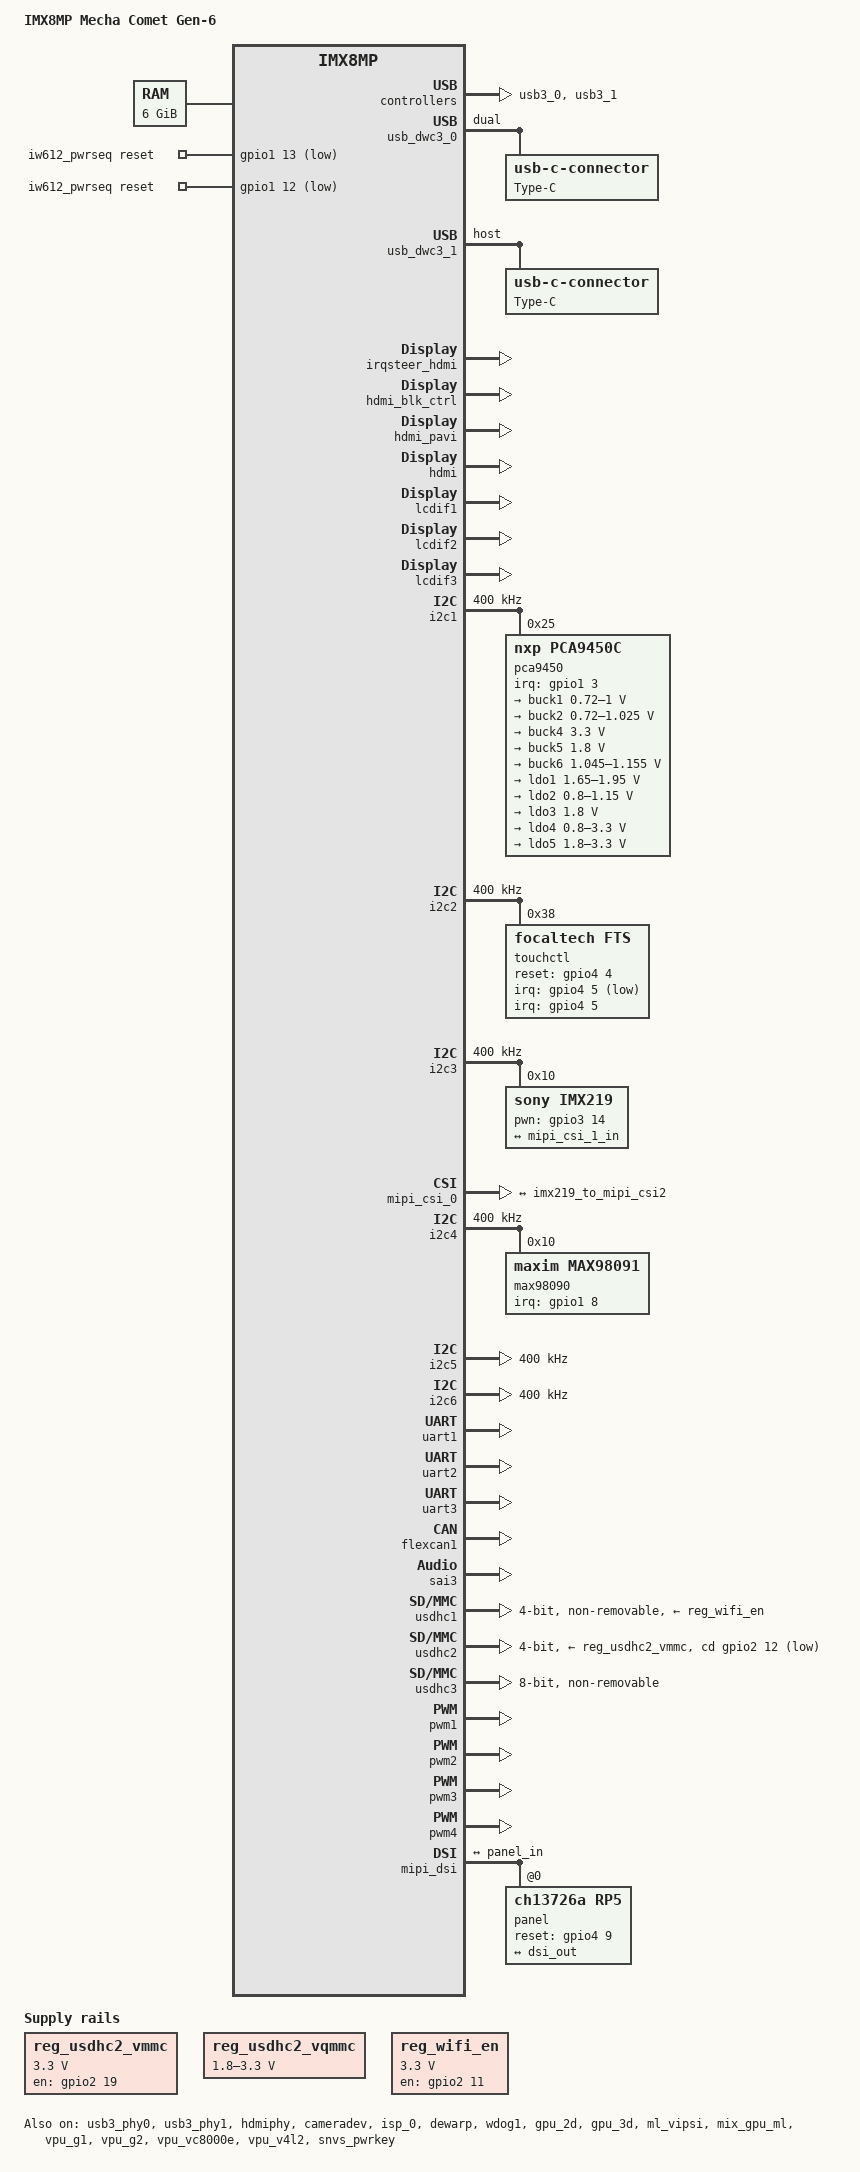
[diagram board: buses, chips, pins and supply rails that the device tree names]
// SPDX-License-Identifier: GPL-2.0-or-later OR MIT
/*
 * Copyright 2025 Silicon Signals Pvt Ltd
 */

/dts-v1/;

#include <dt-bindings/phy/phy-imx8-pcie.h>
#include <dt-bindings/pwm/pwm.h>
#include "imx8mp.dtsi"

/ {
	model = "IMX8MP Mecha Comet Gen-6";
	compatible = "mecha,imx8mp-mecha-comet-m-gen6","fsl,imx8mp";

	chosen {
		stdout-path = &uart2;
	};

	/* Reference from imx8mp-evk dts file needs to be tested */
	memory@40000000 {
		device_type = "memory";
		reg = <0x0 0x40000000 0 0xc0000000>,
		      <0x1 0x00000000 0 0xc0000000>;
	};

	iw612_pwrseq: iw612_pwrseq {
		compatible = "mmc-pwrseq-simple";
		post-power-on-delay-ms = <100>;
		power-off-delay-us = <10000>;
		reset-gpios = <&gpio1 13 GPIO_ACTIVE_LOW>,       /* WIFI_RESET */
			      <&gpio1 12 GPIO_ACTIVE_LOW>;      /* WIFI_PWR_EN */
		status = "okay";
	};

	reg_usdhc2_vmmc: regulator-usdhc2 {
		compatible = "regulator-fixed";
		pinctrl-names = "default";
		pinctrl-0 = <&pinctrl_reg_usdhc2_vmmc>;
		regulator-name = "VSD_3V3";
		regulator-min-microvolt = <3300000>;
		regulator-max-microvolt = <3300000>;
		gpio = <&gpio2 19 GPIO_ACTIVE_HIGH>;
		enable-active-high;
	};

	reg_usdhc2_vqmmc: regulator-usdhc2-vqmmc {
		compatible = "regulator-gpio";
		regulator-name = "VSD_VSEL";
		regulator-min-microvolt = <1800000>;
		regulator-max-microvolt = <3300000>;
		gpio = <&gpio1 4 GPIO_ACTIVE_HIGH>;
		gpios-states = <1>;
		states = <3300000 0
			 1800000 1>;
	};

	sound-max98090 {
	        compatible = "simple-audio-card";
	        simple-audio-card,name = "max98090-audio";
	        simple-audio-card,format = "i2s";
	        simple-audio-card,frame-master = <&cpudai>;
	        simple-audio-card,bitclock-master = <&cpudai>;
	        simple-audio-card,bitclock-inversion;

	        simple-audio-card,widgets =
	                "Microphone", "Mic Jack",
	                "Speakers", "Speakers",
	                "Line", "Line In",
	                "Line", "Line Out",
	                "Headphone", "Headphone Jack";

	        simple-audio-card,routing =
	                "Headphone Jack", "HPL",
	                "Headphone Jack", "HPR",
	                "Line Out", "RCVL",
	                "Line Out", "RCVR",
	        /* Uncomment any of these below lines if the Line Input(s) is(are) used else leave it as such. */
	                "IN1","Line In",
	                "IN2","Line In",
	                "IN5", "Line In",  /* IN1/IN2/IN3/IN4/IN6 (For single-ended input) */
	                "IN34", "Line In", /* IN34 (For differential inputs) */
	                "IN56", "Line In", /* IN34 (For differential inputs) */
	                "MIC1", "Mic Jack",
	                "MIC2", "Mic Jack",
	                "Mic Jack", "MICBIAS",
	                "IN1", "MICBIAS",
	                "MIC1","IN1",
	                "MIC2","IN1",
	                "Speakers", "SPKL",
	                "Speakers", "SPKR",

	                /* DMIC-3 Routings */
	                "DMICL", "DMIC Mux",
	                "DMIC Mux", "DMIC3",
	                "DMIC3", "DMIC3_ENA",
	                "DMIC3", "AHPF",

	                /* DMIC-4 Routings */
	                "DMICR", "DMIC Mux",
	                "DMIC Mux", "DMIC4",
	                "DMIC4", "DMIC4_ENA",
	                "DMIC3", "AHPF",
	                "DMIC4", "AHPF",

	                "HiFi Capture", "DMICL",
	                "HiFi Capture", "DMICR";

	        cpudai: simple-audio-card,cpu {
	                sound-dai = <&sai3>;
	                dai-tdm-slot-num = <2>;
	                dai-tdm-slot-width = <32>;
	        };

	        simple-audio-card,codec {
	                sound-dai = <&max98090>;
	                clocks = <&audio_blk_ctrl IMX8MP_CLK_AUDIOMIX_SAI3_MCLK1>;
	        };
	};

	reg_wifi_en: regulator-wifi-en {
		 compatible = "regulator-fixed";
		 enable-active-high;
		 gpio = <&gpio2 11 GPIO_ACTIVE_HIGH>;
		 pinctrl-names = "default";
		 pinctrl-0 = <&pinctrl_wifi_pwr_en>;
		 regulator-max-microvolt = <3300000>;
		 regulator-min-microvolt = <3300000>;
		 regulator-name = "PDn_AW-CM276NF";
		 startup-delay-us = <2000>;
	};
};

&usb3_0 {
        status = "okay";
};

&usb3_phy0 {
        status = "okay";
};

&usb_dwc3_0 {
        status = "okay";
	dr_mode = "dual";

	connector {
		compatible = "usb-c-connector";
		label = "Type-C";
		type = "mini";
		power-role = "dual";
		data-role = "dual";
	};
};

&usb3_phy1 {
        status = "okay";
};

&usb3_1 {
        status = "okay";
};

&usb_dwc3_1 {
        status = "okay";
	dr_mode = "host";
	maximum-speed = "high-speed";
	connector {
		compatible = "usb-c-connector";
		label = "Type-C";
		type = "mini";
		power-role = "host";
		data-role = "host";
	};
};

&irqsteer_hdmi {
        status = "okay";
};

&hdmi_blk_ctrl {
        status = "okay";
};

&hdmi_pavi {
        status = "okay";
};

&hdmi {
        status = "okay";
};

&hdmiphy {
        status = "okay";
};

&lcdif1 {
        status = "okay";
};

&lcdif2 {
        status = "okay";
};

&lcdif3 {
        status = "okay";

        thres-low  = <1 2>;             /* (FIFO * 1 / 2) */
        thres-high = <3 4>;             /* (FIFO * 3 / 4) */
};

&A53_0 {
        cpu-supply = <&buck2>;
};

&A53_1 {
        cpu-supply = <&buck2>;
};

&A53_2 {
        cpu-supply = <&buck2>;
};

&A53_3 {
        cpu-supply = <&buck2>;
};

&i2c1 {
	clock-frequency = <400000>;
	pinctrl-names = "default";
	pinctrl-0 = <&pinctrl_i2c1>;
	status = "okay";

	pca9450: pmic@25 {
		compatible = "nxp,pca9450c";
		reg = <0x25>;
		pinctrl-names = "default";
		pinctrl-0 = <&pinctrl_pmic>;
		interrupt-parent = <&gpio1>;
		interrupts = <3 IRQ_TYPE_LEVEL_LOW>;

		regulators {
			buck1: BUCK1 {
				regulator-name = "VDD_SOC";
				regulator-min-microvolt = <720000>;
				regulator-max-microvolt = <1000000>;
				regulator-boot-on;
				regulator-always-on;
				regulator-ramp-delay = <3125>;
			};

			buck2: BUCK2 {
				regulator-name = "VDD_ARM";
				regulator-min-microvolt = <720000>;
				regulator-max-microvolt = <1025000>;
				regulator-boot-on;
				regulator-always-on;
				regulator-ramp-delay = <3125>;
				nxp,dvs-run-voltage = <950000>;
				nxp,dvs-standby-voltage = <850000>;
			};

			buck4: BUCK4 {
				regulator-name = "BUCK4";
				regulator-min-microvolt = <3300000>;
				regulator-max-microvolt = <3300000>;
				regulator-boot-on;
				regulator-always-on;
			};
			
			buck5: BUCK5 {
				regulator-name = "BUCK5";
				regulator-min-microvolt = <1800000>;
				regulator-max-microvolt = <1800000>;
				regulator-boot-on;
				regulator-always-on;
			};

			buck6: BUCK6 {
				regulator-name = "NVCC_DRAM_1V1";
				regulator-min-microvolt = <1045000>;
				regulator-max-microvolt = <1155000>;
				regulator-boot-on;
				regulator-always-on;
			};

			ldo1: LDO1 {
				regulator-name = "NVCC_SNVS_1V8";
				regulator-min-microvolt = <1650000>;
				regulator-max-microvolt = <1950000>;
				regulator-boot-on;
				regulator-always-on;
			};

			ldo2: LDO2 {
				regulator-name = "LDO2";
				regulator-min-microvolt = <800000>;
				regulator-max-microvolt = <1150000>;
				regulator-boot-on;
				regulator-always-on;
			};

			ldo3: LDO3 {
				regulator-name = "VDDA_1V8";
				regulator-min-microvolt = <1800000>;
				regulator-max-microvolt = <1800000>;
				regulator-boot-on;
				regulator-always-on;
			};

			ldo4: LDO4 {
				regulator-name = "LDO4";
				regulator-min-microvolt = <800000>;
				regulator-max-microvolt = <3300000>;
				regulator-boot-on;
				regulator-always-on;
			};

			ldo5: LDO5 {
				regulator-name = "NVCC_SD2";
				regulator-min-microvolt = <1800000>;
				regulator-max-microvolt = <3300000>;
				regulator-boot-on;
				regulator-always-on;
			};
		};
	};
};

&i2c2 {
	clock-frequency = <400000>;
	pinctrl-names = "default";
	pinctrl-0 = <&pinctrl_i2c2>;
	status = "okay";

	touchctl: focaltech@38 {
		compatible = "focaltech,fts";
		reg = <0x38>;
		pinctrl-names = "default";
		pinctrl-0 = <&pinctrl_touch_i2c>;
		interrupt-parent = <&gpio4>;
		interrupts = <5 IRQ_TYPE_EDGE_FALLING>;
		focaltech,reset-gpio = <&gpio4 4 GPIO_ACTIVE_HIGH>;
		focaltech,irq-gpio = <&gpio4 5 GPIO_ACTIVE_LOW>;
		focaltech,max-touch-number = <5>;
		focaltech,display-coords = <0 0 1079 1239>;
		status = "okay";
	};

};

&i2c3 {
	clock-frequency = <400000>;
	pinctrl-names = "default";
	pinctrl-0 = <&pinctrl_i2c3>;
	status = "okay";

	imx219: imx219@10 {
	        compatible = "sony,imx219";
	        reg = <0x10>;
	        pinctrl-names = "default";
	        pinctrl-0 = <&pinctrl_gpio_mclk>,<&pinctrl_gpio5>;
	        clock-names = "xclk";
	        clocks = <&clk IMX8MP_CLK_IPP_DO_CLKO1>;
	        assigned-clocks = <&clk IMX8MP_CLK_IPP_DO_CLKO1>;
	        assigned-clock-parents = <&clk IMX8MP_CLK_24M>;
	        assigned-clock-rates = <24000000>;
	        mclk = <24000000>;
	        mclk_source = <0>;
	        csi_id=<0>;

	        pwn-gpios = <&gpio3 14 GPIO_ACTIVE_HIGH>; //pwn=14

	        port {
	            imx219_to_mipi_csi2: endpoint {
	                remote-endpoint = <&mipi_csi_1_in>;
	                clock-lanes = <0>;
	                data-lanes = <1 2>;
	                clock-noncontinuous;
	                link-frequencies = /bits/ 64 <456000000>;
	            };
	       };
	};
};

&cameradev {
       status = "okay";
};

&mipi_csi_0 {
	status = "okay";
	#address-cells = <1>;
	#size-cells = <0>;
	
	port@0 {
		reg = <0>;
		mipi_csi_1_in: endpoint {
			remote-endpoint = <&imx219_to_mipi_csi2>;
			data-lanes = <2>;
			csis-hs-settle = <13>;
			csis-clk-settle = <2>;
			csis-wclk;
		};
	};
};

&isp_0 {
       status = "okay";
};

&isi_0 {
       	status = "disabled";
};

&isi_1 {
       status = "disabled";
};

&dewarp {
       status = "okay";
};

&sdma2 {
       status = "okay";
};

&i2c4 {
	clock-frequency = <400000>;
	pinctrl-names = "default";
	pinctrl-0 = <&pinctrl_i2c4>;
	status = "okay";

	max98090: max98090@10 {
	        #sound-dai-cells = <0>;
	        pinctrl-names = "default";
	        pinctrl-0 = <&pinctrl_sai3>;
	        compatible = "maxim,max98091";
	        reg = <0x10>;
	        clocks = <&clk IMX8MP_CLK_SAI3_ROOT>;
	        interrupt-parent = <&gpio1>;
	        interrupts = <8 IRQ_TYPE_LEVEL_LOW>; /* SODIMM_218 */
	        clock-names = "mclk";
	};
};

&i2c5 {
	clock-frequency = <400000>;
	pinctrl-names = "default";
	pinctrl-0 = <&pinctrl_i2c5>;
	status = "okay";
};

&i2c6 {
	clock-frequency = <400000>;
	pinctrl-names = "default";
	pinctrl-0 = <&pinctrl_i2c6>;
	status = "okay";
};

&uart1 { 
	pinctrl-names = "default";
	pinctrl-0 = <&pinctrl_uart1>;
	status = "okay";
};

&uart2 {
	/* console */
	pinctrl-names = "default";
	pinctrl-0 = <&pinctrl_uart2>;
	status = "okay";
};

&uart3 { /* BT UART */
	pinctrl-names = "default";
	pinctrl-0 = <&pinctrl_uart3>;
	assigned-clocks = <&clk IMX8MP_CLK_UART3>;
	assigned-clock-parents = <&clk IMX8MP_SYS_PLL1_80M>;
	uart-has-rtscts;

	status = "okay";
	
	bluetooth {
		compatibility = "nxp,88w8987-bt";
		fw-init-baudrate = <115200>;
		status="okay";
	};
};

&flexcan1 {
	pinctrl-names = "default";
	pinctrl-0 = <&pinctrl_flexcan1>;
	status = "okay";
};

&ecspi2 {
	#address-cells = <1>;
	#size-cells = <0>;
	fsl,spi-num-chipselects = <1>;
	pinctrl-names = "default";
	pinctrl-0 = <&pinctrl_ecspi2 &pinctrl_ecspi2_cs>;
	cs-gpios = <&gpio5 13 GPIO_ACTIVE_LOW>;
	status = "disabled";
};

&sai2 {
	#sound-dai-cells = <0>;
	pinctrl-names = "default";
	pinctrl-0 = <&pinctrl_sai2>;
	assigned-clocks = <&clk IMX8MP_CLK_SAI2>;
	assigned-clock-parents = <&clk IMX8MP_AUDIO_PLL1_OUT>;
	assigned-clock-rates = <12288000>;
	fsl,sai-mclk-direction-output;
	status = "disabled";
};

&sai3 {
	#sound-dai-cells = <0>;
	assigned-clocks = <&clk IMX8MP_AUDIO_PLL2_OUT>, <&clk IMX8MP_CLK_SAI3>;
	assigned-clock-parents = <&clk IMX8MP_AUDIO_PLL2_OUT>, <&clk IMX8MP_AUDIO_PLL2_OUT>;
	assigned-clock-rates = <361267200>,<11289600>;
	fsl,sai-mclk-direction-output;
	status = "okay";
};

&usdhc1 {
	bus-width = <4>;
	keep-power-in-suspend;
	non-removable;
	pinctrl-names = "default", "state_100mhz", "state_200mhz";
	pinctrl-0 = <&pinctrl_usdhc1>, <&pinctrl_wifi_ctrl>;
	pinctrl-1 = <&pinctrl_usdhc1_100mhz>, <&pinctrl_wifi_ctrl>;
	pinctrl-2 = <&pinctrl_usdhc1_200mhz>, <&pinctrl_wifi_ctrl>;
	vmmc-supply = <&reg_wifi_en>;
	status = "okay";
};

&usdhc2 {
	assigned-clocks = <&clk IMX8MP_CLK_USDHC2>;
	assigned-clock-rates = <400000000>;
	pinctrl-names = "default", "state_100mhz", "state_200mhz", "sleep";
	pinctrl-0 = <&pinctrl_usdhc2>, <&pinctrl_usdhc2_cd>;
	pinctrl-1 = <&pinctrl_usdhc2_100mhz>, <&pinctrl_usdhc2_cd>;
	pinctrl-2 = <&pinctrl_usdhc2_200mhz>, <&pinctrl_usdhc2_cd>;
	pinctrl-3 = <&pinctrl_usdhc2_sleep>, <&pinctrl_usdhc2_cd_sleep>;
	cd-gpios = <&gpio2 12 GPIO_ACTIVE_LOW>;
	vmmc-supply = <&reg_usdhc2_vmmc>;
	vqmmc-supply = <&reg_usdhc2_vqmmc>;
	disable-wp;
	bus-width = <4>;
	status = "okay";
};

&usdhc3 {
	assigned-clocks = <&clk IMX8MP_CLK_USDHC3>;
	assigned-clock-rates = <400000000>;
	pinctrl-names = "default", "state_100mhz", "state_200mhz";
	pinctrl-0 = <&pinctrl_usdhc3>;
	pinctrl-1 = <&pinctrl_usdhc3_100mhz>;
	pinctrl-2 = <&pinctrl_usdhc3_200mhz>;
	bus-width = <8>;
	non-removable;
	status = "okay";
};

&pwm1 {
	pinctrl-names = "default";
	pinctrl-0 = <&pinctrl_pwm1>;
	status = "okay";
};

&pwm2 {
	pinctrl-names = "default";
	pinctrl-0 = <&pinctrl_pwm2>;
	status = "okay";
};

&pwm3 {
	pinctrl-names = "default";
	pinctrl-0 = <&pinctrl_pwm3>;
	status = "okay";
};

&pwm4 {
	pinctrl-names = "default";
	pinctrl-0 = <&pinctrl_pwm4>;
	status = "okay";
};

&wdog1 {
        pinctrl-names = "default";
	pinctrl-0 = <&pinctrl_wdog>;
	fsl,ext-reset-output;
	status = "okay";
};

&lcdif1 {
	status = "okay";
};

&mipi_dsi {
	samsung,esc-clock-frequency = <16000000>;
	status = "okay";

	port {
		dsi_out: endpoint {
			remote-endpoint = <&panel_in>;
		};
	};

	panel@0 {
		compatible = "ch13726a,rp5";
		reg = <0>;
		pinctrl-0 = <&pinctrl_mipi_gpio>;
		reset-gpios = <&gpio4 9 GPIO_ACTIVE_HIGH>;
		orientation = <0>;
		rotation = <270>;
		dsi-lanes = <4>;
		video-mode = <0>;
		status = "okay";

		port {
			panel_in: endpoint {
				remote-endpoint = <&dsi_out>;
			};

		};
	};
};

&gpu_2d {
	status = "okay";
};

&gpu_3d {
	status = "okay";
};

&ml_vipsi {
	status = "okay";
};

&mix_gpu_ml {
	status = "okay";
};

&vpu_g1 {
	status = "okay";
};

&vpu_g2 {
	status = "okay";
};

&vpu_vc8000e {
	status = "okay";
};

&vpu_v4l2 {
	status = "okay";
};

&snvs_pwrkey {
        status = "okay";
};

&iomuxc {
	pinctrl-names = "default";
	pinctrl-0 = <&pinctrl_hog>;

	pinctrl_gpio_mclk: gpiomclkgrp {
	        fsl,pins =
	                /* CSI_1_MCLK */
	                <MX8MP_IOMUXC_GPIO1_IO14__CCM_CLKO1             0x1c4>;
	};

	pinctrl_gpio5: gpio5grp {
	        fsl,pins =
	                <MX8MP_IOMUXC_NAND_ALE__GPIO3_IO00            0x184>;
	};

	pinctrl_hog: hoggrp {
		fsl,pins = <
			MX8MP_IOMUXC_HDMI_DDC_SCL__HDMIMIX_HDMI_SCL     0x400001c2
			MX8MP_IOMUXC_HDMI_DDC_SDA__HDMIMIX_HDMI_SDA     0x400001c2
			MX8MP_IOMUXC_HDMI_HPD__HDMIMIX_HDMI_HPD         0x40000010
			MX8MP_IOMUXC_HDMI_CEC__HDMIMIX_HDMI_CEC         0x40000010
		>;
	};

	pinctrl_i2c1: i2c1grp {
		fsl,pins = <
			MX8MP_IOMUXC_I2C1_SCL__I2C1_SCL		0x400001c2
			MX8MP_IOMUXC_I2C1_SDA__I2C1_SDA		0x400001c2
		>;
	};

	pinctrl_i2c2: i2c2grp {
		fsl,pins = <
			MX8MP_IOMUXC_I2C2_SCL__I2C2_SCL		0x400001c2
			MX8MP_IOMUXC_I2C2_SDA__I2C2_SDA		0x400001c2
		>;
	};

	pinctrl_i2c3: i2c3grp {
		fsl,pins = <
			MX8MP_IOMUXC_I2C3_SCL__I2C3_SCL		0x400001c2
			MX8MP_IOMUXC_I2C3_SDA__I2C3_SDA		0x400001c2
		>;
	};

	pinctrl_i2c4: i2c4grp {
		fsl,pins = <
			MX8MP_IOMUXC_I2C4_SCL__I2C4_SCL		0x400001c2
			MX8MP_IOMUXC_I2C4_SDA__I2C4_SDA		0x400001c2
		>;
	};
	
	pinctrl_i2c5: i2c5grp {
		fsl,pins = <
			MX8MP_IOMUXC_SAI5_RXD0__I2C5_SCL	0x400001c2
			MX8MP_IOMUXC_SAI5_MCLK__I2C5_SDA	0x400001c2
		>;
	};

	pinctrl_i2c6: i2c6grp {
		fsl,pins = <
			MX8MP_IOMUXC_SAI5_RXC__I2C6_SDA		0x400001c2
			MX8MP_IOMUXC_SAI5_RXFS__I2C6_SCL	0x400001c2
		>;
	};
	
	pinctrl_flexcan1: flexcan1grp {
		fsl,pins = <
			MX8MP_IOMUXC_SAI5_RXD1__CAN1_TX		0x154
			MX8MP_IOMUXC_SAI5_RXD2__CAN1_RX		0x154
		>;
	};
	
	pinctrl_uart1: uart1grp {
		fsl,pins = <
			MX8MP_IOMUXC_UART1_RXD__UART1_DCE_RX		0x140
			MX8MP_IOMUXC_UART1_TXD__UART1_DCE_TX		0x140
		>;	
	};

	pinctrl_uart2: uart2grp {
		fsl,pins = <
			MX8MP_IOMUXC_UART2_RXD__UART2_DCE_RX		0x140
			MX8MP_IOMUXC_UART2_TXD__UART2_DCE_TX		0x140
		>;
	};

	pinctrl_uart3: uart3grp {
		fsl,pins = <
			MX8MP_IOMUXC_ECSPI1_SCLK__UART3_DCE_RX		0x140
			MX8MP_IOMUXC_ECSPI1_MOSI__UART3_DCE_TX		0x140
			MX8MP_IOMUXC_ECSPI1_SS0__UART3_DCE_RTS		0x140
			MX8MP_IOMUXC_ECSPI1_MISO__UART3_DCE_CTS		0x140
		>;	
	};

	pinctrl_ecspi2: ecspi2grp {
		fsl,pins = <
			MX8MP_IOMUXC_ECSPI2_SCLK__ECSPI2_SCLK		0x82
			MX8MP_IOMUXC_ECSPI2_MOSI__ECSPI2_MOSI		0x82
			MX8MP_IOMUXC_ECSPI2_MISO__ECSPI2_MISO		0x82
		>;
	};

	pinctrl_ecspi2_cs: ecspi2cs {
		fsl,pins = <
			MX8MP_IOMUXC_ECSPI2_SS0__GPIO5_IO13		0x40000
		>;
	};
	
	pinctrl_sai2: sai2grp {
		fsl,pins = <
			MX8MP_IOMUXC_SAI2_MCLK__AUDIOMIX_SAI2_MCLK	0x1d6
			MX8MP_IOMUXC_SAI2_TXC__AUDIOMIX_SAI2_TX_BCLK	0x1d6
			MX8MP_IOMUXC_SAI2_TXFS__AUDIOMIX_SAI2_TX_SYNC	0x1d6
			MX8MP_IOMUXC_SAI2_RXD0__AUDIOMIX_SAI2_RX_DATA00	0x1d6
			MX8MP_IOMUXC_SAI2_TXD0__AUDIOMIX_SAI2_TX_DATA00	0x1d6
		>;
	};

	pinctrl_sai3: sai3grp {
		fsl,pins = <
			MX8MP_IOMUXC_SAI3_TXC__AUDIOMIX_SAI3_TX_BCLK	0x1d6
			MX8MP_IOMUXC_SAI3_TXFS__AUDIOMIX_SAI3_TX_SYNC	0x1d6
			MX8MP_IOMUXC_SAI3_MCLK__AUDIOMIX_SAI3_MCLK	0x96
			MX8MP_IOMUXC_SAI3_TXD__AUDIOMIX_SAI3_TX_DATA00	0x96
			MX8MP_IOMUXC_SAI3_RXD__AUDIOMIX_SAI3_RX_DATA00	0x1d6
		>;
	};

	pinctrl_pwm1: pwm1grp {
		fsl,pins = <
			MX8MP_IOMUXC_GPIO1_IO08__PWM1_OUT		0x116
		>;
	};

	pinctrl_pwm2: pwm2grp {
		fsl,pins = <
			MX8MP_IOMUXC_GPIO1_IO09__PWM2_OUT		0x116
		>;
	};

	pinctrl_pwm3: pwm3grp {
		fsl,pins = <
			MX8MP_IOMUXC_GPIO1_IO10__PWM3_OUT		0x116
		>;
	};
	
	pinctrl_pwm4: pwm4grp {
		fsl,pins = <
			MX8MP_IOMUXC_GPIO1_IO15__PWM4_OUT		0x116
		>;
	};

	pinctrl_pmic: pmicgrp {
		fsl,pins = <
			MX8MP_IOMUXC_GPIO1_IO03__GPIO1_IO03		0x000001c0
		>;
	};

	pinctrl_usdhc1: usdhc1grp {
		fsl,pins = <
			MX8MP_IOMUXC_SD1_CLK__USDHC1_CLK		0x190
			MX8MP_IOMUXC_SD1_CMD__USDHC1_CMD		0x1d0
			MX8MP_IOMUXC_SD1_DATA0__USDHC1_DATA0		0x1d0
			MX8MP_IOMUXC_SD1_DATA1__USDHC1_DATA1		0x1d0
			MX8MP_IOMUXC_SD1_DATA2__USDHC1_DATA2		0x1d0
			MX8MP_IOMUXC_SD1_DATA3__USDHC1_DATA3		0x1d0
		>;
	};

	pinctrl_usdhc1_100mhz: usdhc1-100mhzgrp {
		fsl,pins = <
			MX8MP_IOMUXC_SD1_CLK__USDHC1_CLK		0x194
			MX8MP_IOMUXC_SD1_CMD__USDHC1_CMD		0x1d4
			MX8MP_IOMUXC_SD1_DATA0__USDHC1_DATA0		0x1d4
			MX8MP_IOMUXC_SD1_DATA1__USDHC1_DATA1		0x1d4
			MX8MP_IOMUXC_SD1_DATA2__USDHC1_DATA2		0x1d4
			MX8MP_IOMUXC_SD1_DATA3__USDHC1_DATA3		0x1d4
		>;
	};

	pinctrl_usdhc1_200mhz: usdhc1-200mhzgrp {
		fsl,pins = <
			MX8MP_IOMUXC_SD1_CLK__USDHC1_CLK		0x196
			MX8MP_IOMUXC_SD1_CMD__USDHC1_CMD		0x1d6
			MX8MP_IOMUXC_SD1_DATA0__USDHC1_DATA0		0x1d6
			MX8MP_IOMUXC_SD1_DATA1__USDHC1_DATA1		0x1d6
			MX8MP_IOMUXC_SD1_DATA2__USDHC1_DATA2		0x1d6
			MX8MP_IOMUXC_SD1_DATA3__USDHC1_DATA3		0x1d6
		>;
	};

	pinctrl_wifi_ctrl: wifictrlgrp {
        fsl,pins =
                <MX8MP_IOMUXC_GPIO1_IO12__GPIO1_IO12             0x1c4>; /* WIFI_WKUP_WLAN */
	};

	pinctrl_wifi_pwr_en: wifipwrengrp {
        fsl,pins =
                <MX8MP_IOMUXC_SD1_STROBE__GPIO2_IO11            0x184>; /* PMIC_EN_WIFI */
	};

	pinctrl_usdhc2: usdhc2grp {
		fsl,pins = <
			MX8MP_IOMUXC_SD2_CLK__USDHC2_CLK		0x190
			MX8MP_IOMUXC_SD2_CMD__USDHC2_CMD		0x1d0
			MX8MP_IOMUXC_SD2_DATA0__USDHC2_DATA0		0x1d0
			MX8MP_IOMUXC_SD2_DATA1__USDHC2_DATA1		0x1d0
			MX8MP_IOMUXC_SD2_DATA2__USDHC2_DATA2		0x1d0
			MX8MP_IOMUXC_SD2_DATA3__USDHC2_DATA3		0x1d0
			MX8MP_IOMUXC_GPIO1_IO04__USDHC2_VSELECT		0x4
		>;
	};

	pinctrl_usdhc2_100mhz: usdhc2-100mhzgrp {
		fsl,pins = <
			MX8MP_IOMUXC_SD2_CLK__USDHC2_CLK		0x194
			MX8MP_IOMUXC_SD2_CMD__USDHC2_CMD		0x1d4
			MX8MP_IOMUXC_SD2_DATA0__USDHC2_DATA0		0x1d4
			MX8MP_IOMUXC_SD2_DATA1__USDHC2_DATA1		0x1d4
			MX8MP_IOMUXC_SD2_DATA2__USDHC2_DATA2		0x1d4
			MX8MP_IOMUXC_SD2_DATA3__USDHC2_DATA3		0x1d4
			MX8MP_IOMUXC_GPIO1_IO04__USDHC2_VSELECT		0x4
		>;
	};

	pinctrl_usdhc2_200mhz:	usdhc2-200mhzgrp {
		fsl,pins = <
			MX8MP_IOMUXC_SD2_CLK__USDHC2_CLK		0x196
			MX8MP_IOMUXC_SD2_CMD__USDHC2_CMD		0x1d6
			MX8MP_IOMUXC_SD2_DATA0__USDHC2_DATA0		0x1d6
			MX8MP_IOMUXC_SD2_DATA1__USDHC2_DATA1		0x1d6
			MX8MP_IOMUXC_SD2_DATA2__USDHC2_DATA2		0x1d6
			MX8MP_IOMUXC_SD2_DATA3__USDHC2_DATA3		0x1d6
			MX8MP_IOMUXC_GPIO1_IO04__USDHC2_VSELECT		0x4
		>;
	};

	 pinctrl_usdhc2_sleep: usdhc2slpgrp {
	         fsl,pins =
	                 <MX8MP_IOMUXC_GPIO1_IO04__USDHC2_VSELECT        0x0>,
	                 <MX8MP_IOMUXC_SD2_CLK__USDHC2_CLK               0x100>,
	                 <MX8MP_IOMUXC_SD2_CMD__USDHC2_CMD               0x100>,
	                 <MX8MP_IOMUXC_SD2_DATA0__USDHC2_DATA0           0x100>,
	                 <MX8MP_IOMUXC_SD2_DATA1__USDHC2_DATA1           0x100>,
	                 <MX8MP_IOMUXC_SD2_DATA2__USDHC2_DATA2           0x100>,
	                 <MX8MP_IOMUXC_SD2_DATA3__USDHC2_DATA3           0x100>;
	 };

	pinctrl_usdhc2_cd_sleep: usdhc2cdslpgrp {
	        fsl,pins =
	                <MX8MP_IOMUXC_SD2_CD_B__GPIO2_IO12              0x0>;   /* SODIMM 84 */
	};

	pinctrl_usdhc2_cd: usdhc2cdgrp {
	        fsl,pins =
	                <MX8MP_IOMUXC_SD2_CD_B__GPIO2_IO12              0x1c4
			MX8MP_IOMUXC_GPIO1_IO04__GPIO1_IO04             0x10 /* PMIC_USDHC_VSELECT */>;   /* SODIMM 84 */
	};

	pinctrl_reg_usdhc2_vmmc: regusdhc2vmmcgrp {
		fsl,pins = <
			MX8MP_IOMUXC_SD2_RESET_B__GPIO2_IO19		0x40
		>;
	};

	pinctrl_usdhc3: usdhc3grp {
		fsl,pins = <
			MX8MP_IOMUXC_NAND_READY_B__USDHC3_RESET_B	0x1d1
			MX8MP_IOMUXC_NAND_WE_B__USDHC3_CLK		0x190
			MX8MP_IOMUXC_NAND_WP_B__USDHC3_CMD		0x1d0
			MX8MP_IOMUXC_NAND_DATA04__USDHC3_DATA0		0x1d0
			MX8MP_IOMUXC_NAND_DATA05__USDHC3_DATA1		0x1d0
			MX8MP_IOMUXC_NAND_DATA06__USDHC3_DATA2		0x1d0
			MX8MP_IOMUXC_NAND_DATA07__USDHC3_DATA3		0x1d0
			MX8MP_IOMUXC_NAND_RE_B__USDHC3_DATA4		0x1d0
			MX8MP_IOMUXC_NAND_CE2_B__USDHC3_DATA5		0x1d0
			MX8MP_IOMUXC_NAND_CE3_B__USDHC3_DATA6		0x1d0
			MX8MP_IOMUXC_NAND_CLE__USDHC3_DATA7		0x1d0
			MX8MP_IOMUXC_NAND_CE1_B__USDHC3_STROBE		0x190
		>;
	};
	
	pinctrl_usdhc3_100mhz: usdhc3-100mhzgrp {
		fsl,pins = <
			MX8MP_IOMUXC_NAND_READY_B__USDHC3_RESET_B	0x1d1
			MX8MP_IOMUXC_NAND_WE_B__USDHC3_CLK		0x194
			MX8MP_IOMUXC_NAND_WP_B__USDHC3_CMD		0x1d4
			MX8MP_IOMUXC_NAND_DATA04__USDHC3_DATA0		0x1d4
			MX8MP_IOMUXC_NAND_DATA05__USDHC3_DATA1		0x1d4
			MX8MP_IOMUXC_NAND_DATA06__USDHC3_DATA2		0x1d4
			MX8MP_IOMUXC_NAND_DATA07__USDHC3_DATA3		0x1d4
			MX8MP_IOMUXC_NAND_RE_B__USDHC3_DATA4		0x1d4
			MX8MP_IOMUXC_NAND_CE2_B__USDHC3_DATA5		0x1d4
			MX8MP_IOMUXC_NAND_CE3_B__USDHC3_DATA6		0x1d4
			MX8MP_IOMUXC_NAND_CLE__USDHC3_DATA7		0x1d4
			MX8MP_IOMUXC_NAND_CE1_B__USDHC3_STROBE		0x190
		>;
	};

	pinctrl_usdhc3_200mhz: usdhc3-200mhzgrp {
		fsl,pins =  <
			MX8MP_IOMUXC_NAND_READY_B__USDHC3_RESET_B	0x1d1
			MX8MP_IOMUXC_NAND_WE_B__USDHC3_CLK		0x196
			MX8MP_IOMUXC_NAND_WP_B__USDHC3_CMD		0x1d6
			MX8MP_IOMUXC_NAND_DATA04__USDHC3_DATA0		0x1d6
			MX8MP_IOMUXC_NAND_DATA05__USDHC3_DATA1		0x1d6
			MX8MP_IOMUXC_NAND_DATA06__USDHC3_DATA2		0x1d6
			MX8MP_IOMUXC_NAND_DATA07__USDHC3_DATA3		0x1d6
			MX8MP_IOMUXC_NAND_RE_B__USDHC3_DATA4		0x1d6
			MX8MP_IOMUXC_NAND_CE2_B__USDHC3_DATA5		0x1d6
			MX8MP_IOMUXC_NAND_CE3_B__USDHC3_DATA6		0x1d6
			MX8MP_IOMUXC_NAND_CLE__USDHC3_DATA7		0x1d6
			MX8MP_IOMUXC_NAND_CE1_B__USDHC3_STROBE		0x196
		>;
	};

	pinctrl_wdog: wdoggrp {
		fsl,pins = <
			MX8MP_IOMUXC_GPIO1_IO02__WDOG1_WDOG_B		0x166
		>;
	};

	pinctrl_mipi_gpio: mipigpiogrp {
		fsl,pins = <
			MX8MP_IOMUXC_SAI1_RXD7__GPIO4_IO09		0x184
		>;
	};

	pinctrl_touch_i2c: touchgrp {
		fsl,pins = <
			MX8MP_IOMUXC_SAI1_RXD2__GPIO4_IO04		0x184
			MX8MP_IOMUXC_SAI1_RXD3__GPIO4_IO05		0x184
		>;
	};

};
